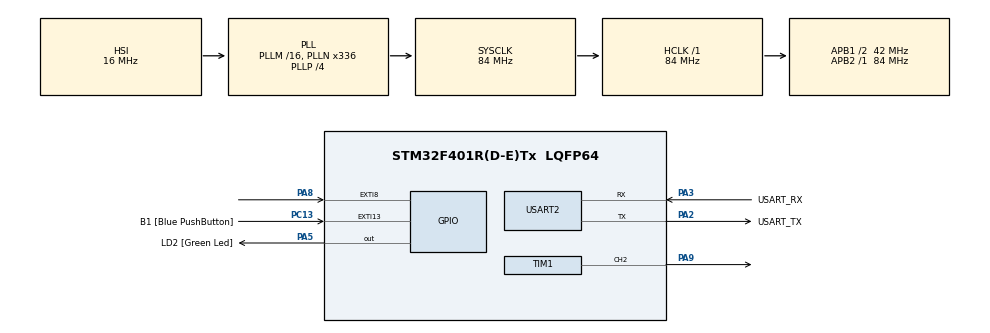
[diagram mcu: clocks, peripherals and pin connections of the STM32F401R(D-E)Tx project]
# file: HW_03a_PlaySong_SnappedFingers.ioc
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Mcu.Family=STM32F4
Mcu.Name=STM32F401R(D-E)Tx
Mcu.Package=LQFP64
NVIC.EXTI9_5_IRQn=true\:1\:0\:true\:false\:true\:true\:true\:true
NVIC.PriorityGroup=NVIC_PRIORITYGROUP_1
PA13.GPIO_Label=TMS
PA13.Mode=Serial_Wire
PA13.Signal=SYS_JTMS-SWDIO
PA14.GPIO_Label=TCK
PA14.Mode=Serial_Wire
PA14.Signal=SYS_JTCK-SWCLK
PA2.GPIO_Label=USART_TX
PA2.GPIO_Mode=GPIO_MODE_AF_PP
PA2.GPIO_PuPd=GPIO_NOPULL
PA2.GPIO_Speed=GPIO_SPEED_FREQ_LOW
PA2.Mode=Asynchronous
PA2.Signal=USART2_TX
PA3.GPIO_Label=USART_RX
PA3.GPIO_Mode=GPIO_MODE_AF_PP
PA3.GPIO_PuPd=GPIO_NOPULL
PA3.GPIO_Speed=GPIO_SPEED_FREQ_LOW
PA3.Mode=Asynchronous
PA3.Signal=USART2_RX
PA5.GPIO_Label=LD2 [Green Led]
PA5.GPIO_Mode=GPIO_MODE_OUTPUT_PP
PA5.GPIO_PuPd=GPIO_NOPULL
PA5.GPIO_Speed=GPIO_SPEED_FREQ_LOW
PA5.Signal=GPIO_Output
PA8.Signal=GPXTI8
PA9.Signal=S_TIM1_CH2
PB3.GPIO_Label=SWO
PB3.Signal=SYS_JTDO-SWO
PC13-ANTI_TAMP.GPIO_Label=B1 [Blue PushButton]
PC13-ANTI_TAMP.GPIO_ModeDefaultEXTI=GPIO_MODE_IT_FALLING
PC13-ANTI_TAMP.GPIO_PuPd=GPIO_NOPULL
PC13-ANTI_TAMP.Signal=GPXTI13
PC14-OSC32_IN.Mode=LSE-External-Oscillator
PC14-OSC32_IN.Signal=RCC_OSC32_IN
PC15-OSC32_OUT.Mode=LSE-External-Oscillator
PC15-OSC32_OUT.Signal=RCC_OSC32_OUT
PH0\ -\ OSC_IN.Mode=HSE-External-Clock-Source
PH0\ -\ OSC_IN.Signal=RCC_OSC_IN
PH1\ -\ OSC_OUT.Mode=HSE-External-Clock-Source
PH1\ -\ OSC_OUT.Signal=RCC_OSC_OUT
ProjectManager.HeapSize=0x200
ProjectManager.StackSize=0x400
ProjectManager.TargetToolchain=STM32CubeIDE
RCC.48MHZClocksFreq_Value=48000000
RCC.AHBFreq_Value=84000000
RCC.APB1CLKDivider=RCC_HCLK_DIV2
RCC.APB1Freq_Value=42000000
RCC.APB1TimFreq_Value=84000000
RCC.APB2Freq_Value=84000000
RCC.APB2TimFreq_Value=84000000
RCC.CortexFreq_Value=84000000
RCC.HCLKFreq_Value=84000000
RCC.HSE_VALUE=8000000
RCC.HSI_VALUE=16000000
RCC.PLLN=336
RCC.PLLP=RCC_PLLP_DIV4
RCC.PLLQ=7
RCC.SYSCLKFreq_VALUE=84000000
RCC.SYSCLKSource=RCC_SYSCLKSOURCE_PLLCLK
RCC.VCOOutputFreq_Value=336000000
SH.S_TIM1_CH2.0=TIM1_CH2,PWM Generation2 CH2
TIM1.Channel-PWM\ Generation2\ CH2=TIM_CHANNEL_2
TIM1.Period=3206-1
TIM1.Prescaler=100-1
TIM1.Pulse-PWM\ Generation2\ CH2=1603-1
USART2.VirtualMode=VM_ASYNC
VP_TIM1_VS_ClockSourceINT.Mode=Internal
board=NUCLEO-F401RE

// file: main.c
/* USER CODE BEGIN Header */
/**
  ******************************************************************************
  * @file           : main.c
  * @brief          : Main program body
  ******************************************************************************
  * @attention
  *
  * Copyright (c) 2024 STMicroelectronics.
  * All rights reserved.
  *
  * This software is licensed under terms that can be found in the LICENSE file
  * in the root directory of this software component.
  * If no LICENSE file comes with this software, it is provided AS-IS.
  *
  ******************************************************************************
  */
/* USER CODE END Header */
#include "main.h"

/* USER CODE BEGIN PTD */
struct note{
	int tone;
	int duration;
};
/* USER CODE END PTD */

/* USER CODE BEGIN PD */

#define _DO4 3205
#define _DOD4 3031
#define _RE4 2856
#define _RED4 2699
#define _MI4 2544
#define _FA4 2405
#define _FAD4 2269
#define _SOL4 2141
#define _SOLD4 2141
#define _LA4 1908
#define _LAD4 1801
#define _SI4 1699

#define TEMPO 75

/* USER CODE END PD */

TIM_HandleTypeDef htim1;

UART_HandleTypeDef huart2;

/* USER CODE BEGIN PV */
struct note score[]={
		{_SOL4, 6},
		{_LA4, 2 },
		{_SOL4, 4},
		{_FA4, 4 },
		{_MI4, 4 },
		{_FA4, 4 },
		{_SOL4, 8},
		{_RE4, 4 },
		{_MI4, 4 },
		{_FA4, 8 },
		{_MI4, 4 },
		{_FA4, 4 },
		{_SOL4, 8},
		{_SOL4, 6},
		{_LA4, 2 },
		{_SOL4, 4},
		{_FA4, 4 },
		{_MI4, 4 },
		{_FA4, 4 },
		{_SOL4, 8},
		{_RE4, 8 },
		{_SOL4, 8},
		{_MI4, 4 },
		{_DO4, 12},
};
/* USER CODE END PV */

void SystemClock_Config(void);
static void MX_GPIO_Init(void);
static void MX_USART2_UART_Init(void);
static void MX_TIM1_Init(void);

/* USER CODE BEGIN 0 */

void playnote(struct note note_playing){
	//copied from MX_TIM1_INIT
	TIM_ClockConfigTypeDef sClockSourceConfig = {0};
	TIM_MasterConfigTypeDef sMasterConfig = {0};
	TIM_OC_InitTypeDef sConfigOC = {0};
	TIM_BreakDeadTimeConfigTypeDef sBreakDeadTimeConfig = {0};

	htim1.Instance = TIM1;
	htim1.Init.Prescaler = 100-1;
	htim1.Init.CounterMode = TIM_COUNTERMODE_UP;
	htim1.Init.Period = note_playing.tone;
	htim1.Init.ClockDivision = TIM_CLOCKDIVISION_DIV1;
	htim1.Init.RepetitionCounter = 0;
	htim1.Init.AutoReloadPreload = TIM_AUTORELOAD_PRELOAD_DISABLE;
	if (HAL_TIM_Base_Init(&htim1) != HAL_OK)
	{
	  Error_Handler();
	}
	if (HAL_TIM_PWM_Init(&htim1) != HAL_OK)
	{
	  Error_Handler();
	}

	sConfigOC.OCMode = TIM_OCMODE_PWM1;
	sConfigOC.Pulse = note_playing.tone/2;
	sConfigOC.OCPolarity = TIM_OCPOLARITY_HIGH;
	sConfigOC.OCNPolarity = TIM_OCNPOLARITY_HIGH;
	sConfigOC.OCFastMode = TIM_OCFAST_DISABLE;
	sConfigOC.OCIdleState = TIM_OCIDLESTATE_RESET;
	sConfigOC.OCNIdleState = TIM_OCNIDLESTATE_RESET;
	if (HAL_TIM_PWM_ConfigChannel(&htim1, &sConfigOC, TIM_CHANNEL_2) != HAL_OK)
	{
	  Error_Handler();
	}

	HAL_TIM_PWM_Start(&htim1, TIM_CHANNEL_2);
	HAL_Delay(note_playing.duration*TEMPO);
	HAL_TIM_PWM_Stop(&htim1, TIM_CHANNEL_2);
}

void playsong(){
	int length = sizeof(score)/sizeof(score[0]);

	for(int i=0; i<length; i++){
		playnote(score[i]);
	}
}

void HAL_GPIO_EXTI_Callback(uint16_t GPIO_PIN){
	switch(GPIO_PIN){
	case GPIO_PIN_8:
			playsong();
			__HAL_GPIO_EXTI_CLEAR_IT(GPIO_PIN);
		break;
	default:
		break;
	}
}

/* USER CODE END 0 */

int main(void)
{

  /* MCU Configuration--------------------------------------------------------*/

  /* Reset of all peripherals, Initializes the Flash interface and the Systick. */
  HAL_Init();

  /* Configure the system clock */
  SystemClock_Config();

  /* Initialize all configured peripherals */
  MX_GPIO_Init();
  MX_USART2_UART_Init();
  MX_TIM1_Init();

  /* Infinite loop */
  while (1)
  {

  }
}

void SystemClock_Config(void)
{
  RCC_OscInitTypeDef RCC_OscInitStruct = {0};
  RCC_ClkInitTypeDef RCC_ClkInitStruct = {0};

  /** Configure the main internal regulator output voltage
  */
  __HAL_RCC_PWR_CLK_ENABLE();
  __HAL_PWR_VOLTAGESCALING_CONFIG(PWR_REGULATOR_VOLTAGE_SCALE2);

  /** Initializes the RCC Oscillators according to the specified parameters
  * in the RCC_OscInitTypeDef structure.
  */
  RCC_OscInitStruct.OscillatorType = RCC_OSCILLATORTYPE_HSI;
  RCC_OscInitStruct.HSIState = RCC_HSI_ON;
  RCC_OscInitStruct.HSICalibrationValue = RCC_HSICALIBRATION_DEFAULT;
  RCC_OscInitStruct.PLL.PLLState = RCC_PLL_ON;
  RCC_OscInitStruct.PLL.PLLSource = RCC_PLLSOURCE_HSI;
  RCC_OscInitStruct.PLL.PLLM = 16;
  RCC_OscInitStruct.PLL.PLLN = 336;
  RCC_OscInitStruct.PLL.PLLP = RCC_PLLP_DIV4;
  RCC_OscInitStruct.PLL.PLLQ = 7;
  if (HAL_RCC_OscConfig(&RCC_OscInitStruct) != HAL_OK)
  {
    Error_Handler();
  }

  /** Initializes the CPU, AHB and APB buses clocks
  */
  RCC_ClkInitStruct.ClockType = RCC_CLOCKTYPE_HCLK|RCC_CLOCKTYPE_SYSCLK
                              |RCC_CLOCKTYPE_PCLK1|RCC_CLOCKTYPE_PCLK2;
  RCC_ClkInitStruct.SYSCLKSource = RCC_SYSCLKSOURCE_PLLCLK;
  RCC_ClkInitStruct.AHBCLKDivider = RCC_SYSCLK_DIV1;
  RCC_ClkInitStruct.APB1CLKDivider = RCC_HCLK_DIV2;
  RCC_ClkInitStruct.APB2CLKDivider = RCC_HCLK_DIV1;

  if (HAL_RCC_ClockConfig(&RCC_ClkInitStruct, FLASH_LATENCY_2) != HAL_OK)
  {
    Error_Handler();
  }
}

static void MX_TIM1_Init(void)
{

  TIM_ClockConfigTypeDef sClockSourceConfig = {0};
  TIM_MasterConfigTypeDef sMasterConfig = {0};
  TIM_OC_InitTypeDef sConfigOC = {0};
  TIM_BreakDeadTimeConfigTypeDef sBreakDeadTimeConfig = {0};

  htim1.Instance = TIM1;
  htim1.Init.Prescaler = 100-1;
  htim1.Init.CounterMode = TIM_COUNTERMODE_UP;
  htim1.Init.Period = 3206-1;
  htim1.Init.ClockDivision = TIM_CLOCKDIVISION_DIV1;
  htim1.Init.RepetitionCounter = 0;
  htim1.Init.AutoReloadPreload = TIM_AUTORELOAD_PRELOAD_DISABLE;
  if (HAL_TIM_Base_Init(&htim1) != HAL_OK)
  {
    Error_Handler();
  }
  sClockSourceConfig.ClockSource = TIM_CLOCKSOURCE_INTERNAL;
  if (HAL_TIM_ConfigClockSource(&htim1, &sClockSourceConfig) != HAL_OK)
  {
    Error_Handler();
  }
  if (HAL_TIM_PWM_Init(&htim1) != HAL_OK)
  {
    Error_Handler();
  }
  sMasterConfig.MasterOutputTrigger = TIM_TRGO_RESET;
  sMasterConfig.MasterSlaveMode = TIM_MASTERSLAVEMODE_DISABLE;
  if (HAL_TIMEx_MasterConfigSynchronization(&htim1, &sMasterConfig) != HAL_OK)
  {
    Error_Handler();
  }
  sConfigOC.OCMode = TIM_OCMODE_PWM1;
  sConfigOC.Pulse = 1603-1;
  sConfigOC.OCPolarity = TIM_OCPOLARITY_HIGH;
  sConfigOC.OCNPolarity = TIM_OCNPOLARITY_HIGH;
  sConfigOC.OCFastMode = TIM_OCFAST_DISABLE;
  sConfigOC.OCIdleState = TIM_OCIDLESTATE_RESET;
  sConfigOC.OCNIdleState = TIM_OCNIDLESTATE_RESET;
  if (HAL_TIM_PWM_ConfigChannel(&htim1, &sConfigOC, TIM_CHANNEL_2) != HAL_OK)
  {
    Error_Handler();
  }
  sBreakDeadTimeConfig.OffStateRunMode = TIM_OSSR_DISABLE;
  sBreakDeadTimeConfig.OffStateIDLEMode = TIM_OSSI_DISABLE;
  sBreakDeadTimeConfig.LockLevel = TIM_LOCKLEVEL_OFF;
  sBreakDeadTimeConfig.DeadTime = 0;
  sBreakDeadTimeConfig.BreakState = TIM_BREAK_DISABLE;
  sBreakDeadTimeConfig.BreakPolarity = TIM_BREAKPOLARITY_HIGH;
  sBreakDeadTimeConfig.AutomaticOutput = TIM_AUTOMATICOUTPUT_DISABLE;
  if (HAL_TIMEx_ConfigBreakDeadTime(&htim1, &sBreakDeadTimeConfig) != HAL_OK)
  {
    Error_Handler();
  }
  HAL_TIM_MspPostInit(&htim1);

}

static void MX_USART2_UART_Init(void)
{

  huart2.Instance = USART2;
  huart2.Init.BaudRate = 115200;
  huart2.Init.WordLength = UART_WORDLENGTH_8B;
  huart2.Init.StopBits = UART_STOPBITS_1;
  huart2.Init.Parity = UART_PARITY_NONE;
  huart2.Init.Mode = UART_MODE_TX_RX;
  huart2.Init.HwFlowCtl = UART_HWCONTROL_NONE;
  huart2.Init.OverSampling = UART_OVERSAMPLING_16;
  if (HAL_UART_Init(&huart2) != HAL_OK)
  {
    Error_Handler();
  }

}

static void MX_GPIO_Init(void)
{
  GPIO_InitTypeDef GPIO_InitStruct = {0};

  /* GPIO Ports Clock Enable */
  __HAL_RCC_GPIOC_CLK_ENABLE();
  __HAL_RCC_GPIOH_CLK_ENABLE();
  __HAL_RCC_GPIOA_CLK_ENABLE();
  __HAL_RCC_GPIOB_CLK_ENABLE();

  /*Configure GPIO pin Output Level */
  HAL_GPIO_WritePin(LD2_GPIO_Port, LD2_Pin, GPIO_PIN_RESET);

  /*Configure GPIO pin : B1_Pin */
  GPIO_InitStruct.Pin = B1_Pin;
  GPIO_InitStruct.Mode = GPIO_MODE_IT_FALLING;
  GPIO_InitStruct.Pull = GPIO_NOPULL;
  HAL_GPIO_Init(B1_GPIO_Port, &GPIO_InitStruct);

  /*Configure GPIO pin : LD2_Pin */
  GPIO_InitStruct.Pin = LD2_Pin;
  GPIO_InitStruct.Mode = GPIO_MODE_OUTPUT_PP;
  GPIO_InitStruct.Pull = GPIO_NOPULL;
  GPIO_InitStruct.Speed = GPIO_SPEED_FREQ_LOW;
  HAL_GPIO_Init(LD2_GPIO_Port, &GPIO_InitStruct);

  /*Configure GPIO pin : PA8 */
  GPIO_InitStruct.Pin = GPIO_PIN_8;
  GPIO_InitStruct.Mode = GPIO_MODE_IT_RISING;
  GPIO_InitStruct.Pull = GPIO_NOPULL;
  HAL_GPIO_Init(GPIOA, &GPIO_InitStruct);

  /* EXTI interrupt init*/
  HAL_NVIC_SetPriority(EXTI9_5_IRQn, 1, 0);
  HAL_NVIC_EnableIRQ(EXTI9_5_IRQn);

}

void Error_Handler(void)
{
  __disable_irq();
  while (1)
  {
  }
}
